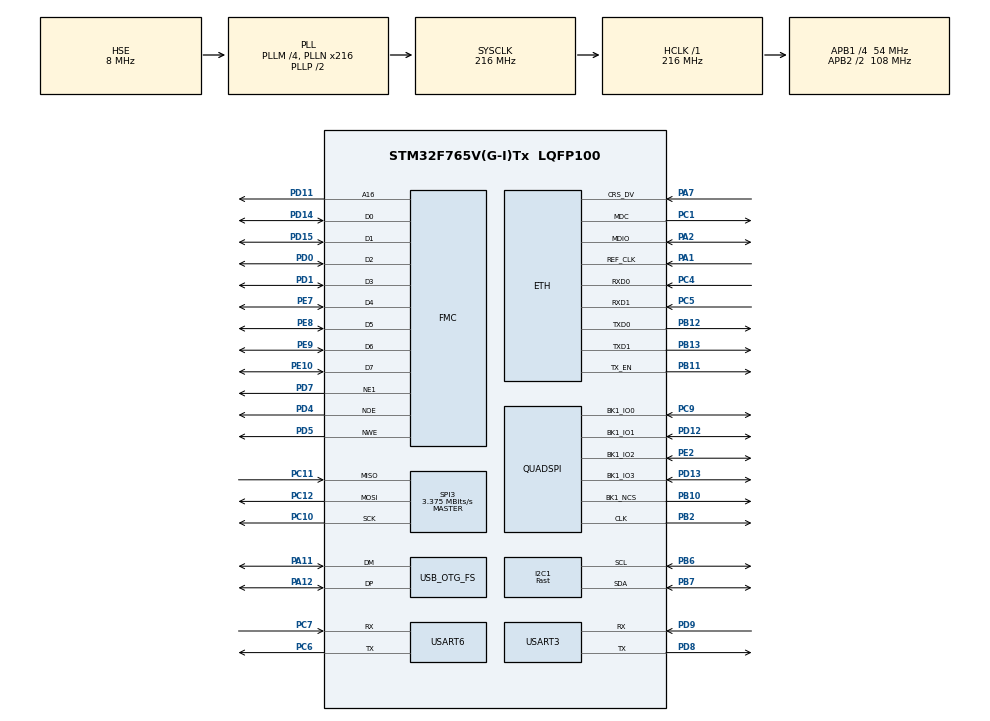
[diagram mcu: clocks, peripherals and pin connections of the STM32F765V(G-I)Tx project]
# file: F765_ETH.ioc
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CORTEX_M7.ART_ACCELERATOR_ENABLE=1
CORTEX_M7.AccessPermission-Cortex_Memory_Protection_Unit_Region1_Settings=MPU_REGION_FULL_ACCESS
CORTEX_M7.AccessPermission-Cortex_Memory_Protection_Unit_Region2_Settings=MPU_REGION_FULL_ACCESS
CORTEX_M7.AccessPermission_S-Cortex_Memory_Protection_Unit_Region1_Settings_S=MPU_REGION_FULL_ACCESS
CORTEX_M7.AccessPermission_S-Cortex_Memory_Protection_Unit_Region2_Settings_S=MPU_REGION_FULL_ACCESS
CORTEX_M7.AccessPermission_Spec=MPU_REGION_FULL_ACCESS
CORTEX_M7.BaseAddress-Cortex_Memory_Protection_Unit_Region1_Settings=0x2007C000
CORTEX_M7.BaseAddress-Cortex_Memory_Protection_Unit_Region2_Settings=0x2007C000
CORTEX_M7.BaseAddress_S-Cortex_Memory_Protection_Unit_Region1_Settings_S=0x2007C000
CORTEX_M7.BaseAddress_S-Cortex_Memory_Protection_Unit_Region2_Settings_S=0x60000000
CORTEX_M7.BaseAddress_Spec=0x2007C000
CORTEX_M7.CPU_DCache=Enabled
CORTEX_M7.CPU_ICache=Enabled
CORTEX_M7.DisableExec-Cortex_Memory_Protection_Unit_Region0_Settings=MPU_INSTRUCTION_ACCESS_DISABLE
CORTEX_M7.DisableExec-Cortex_Memory_Protection_Unit_Region1_Settings=MPU_INSTRUCTION_ACCESS_DISABLE
CORTEX_M7.DisableExec-Cortex_Memory_Protection_Unit_Region2_Settings=MPU_INSTRUCTION_ACCESS_DISABLE
CORTEX_M7.DisableExec_S-Cortex_Memory_Protection_Unit_Region1_Settings_S=MPU_INSTRUCTION_ACCESS_DISABLE
CORTEX_M7.DisableExec_Spec=MPU_INSTRUCTION_ACCESS_DISABLE
CORTEX_M7.Enable-Cortex_Memory_Protection_Unit_Region0_Settings=MPU_REGION_ENABLE
CORTEX_M7.Enable-Cortex_Memory_Protection_Unit_Region1_Settings=MPU_REGION_ENABLE
CORTEX_M7.Enable-Cortex_Memory_Protection_Unit_Region2_Settings=MPU_REGION_ENABLE
CORTEX_M7.Enable-Cortex_Memory_Protection_Unit_Region3_Settings=__NULL
CORTEX_M7.Enable-Cortex_Memory_Protection_Unit_Region4_Settings=__NULL
CORTEX_M7.Enable_S-Cortex_Memory_Protection_Unit_Region1_Settings_S=MPU_REGION_ENABLE
CORTEX_M7.Enable_S-Cortex_Memory_Protection_Unit_Region2_Settings_S=MPU_REGION_ENABLE
CORTEX_M7.Enable_S-Cortex_Memory_Protection_Unit_Region3_Settings_S=__NULL
CORTEX_M7.Enable_Spec=MPU_REGION_ENABLE
CORTEX_M7.FlashInterface=AXI_Enabled
CORTEX_M7.IsBufferable-Cortex_Memory_Protection_Unit_Region2_Settings=MPU_ACCESS_BUFFERABLE
CORTEX_M7.IsBufferable_S-Cortex_Memory_Protection_Unit_Region1_Settings_S=MPU_ACCESS_BUFFERABLE
CORTEX_M7.IsBufferable_S-Cortex_Memory_Protection_Unit_Region2_Settings_S=MPU_ACCESS_BUFFERABLE
CORTEX_M7.IsShareable-Cortex_Memory_Protection_Unit_Region0_Settings=MPU_ACCESS_SHAREABLE
CORTEX_M7.IsShareable-Cortex_Memory_Protection_Unit_Region1_Settings=MPU_ACCESS_SHAREABLE
CORTEX_M7.IsShareable-Cortex_Memory_Protection_Unit_Region2_Settings=MPU_ACCESS_SHAREABLE
CORTEX_M7.IsShareable_S-Cortex_Memory_Protection_Unit_Region1_Settings_S=MPU_ACCESS_SHAREABLE
CORTEX_M7.IsShareable_S-Cortex_Memory_Protection_Unit_Region2_Settings_S=MPU_ACCESS_SHAREABLE
CORTEX_M7.IsShareable_Spec=MPU_ACCESS_NOT_SHAREABLE
CORTEX_M7.MPU_Control=MPU_PRIVILEGED_DEFAULT
CORTEX_M7.PREFETCH_ENABLE=1
CORTEX_M7.Size-Cortex_Memory_Protection_Unit_Region0_Settings=MPU_REGION_SIZE_4GB
CORTEX_M7.Size-Cortex_Memory_Protection_Unit_Region1_Settings=MPU_REGION_SIZE_16KB
CORTEX_M7.Size-Cortex_Memory_Protection_Unit_Region2_Settings=MPU_REGION_SIZE_512B
CORTEX_M7.Size_S-Cortex_Memory_Protection_Unit_Region1_Settings_S=MPU_REGION_SIZE_512B
CORTEX_M7.Size_S-Cortex_Memory_Protection_Unit_Region2_Settings_S=MPU_REGION_SIZE_64KB
CORTEX_M7.Size_Spec=MPU_REGION_SIZE_16KB
CORTEX_M7.SubRegionDisable-Cortex_Memory_Protection_Unit_Region0_Settings=0x87
CORTEX_M7.SubRegionDisable_Spec=0x0
CORTEX_M7.TypeExtField-Cortex_Memory_Protection_Unit_Region1_Settings=MPU_TEX_LEVEL1
CORTEX_M7.TypeExtField_Spec=MPU_TEX_LEVEL1
CORTEX_M7.default_mode_Activation=0
Dma.QUADSPI.0.Direction=DMA_PERIPH_TO_MEMORY
Dma.QUADSPI.0.FIFOMode=DMA_FIFOMODE_DISABLE
Dma.QUADSPI.0.Instance=DMA2_Stream2
Dma.QUADSPI.0.MemDataAlignment=DMA_MDATAALIGN_BYTE
Dma.QUADSPI.0.MemInc=DMA_MINC_ENABLE
Dma.QUADSPI.0.Mode=DMA_NORMAL
Dma.QUADSPI.0.PeriphDataAlignment=DMA_PDATAALIGN_BYTE
Dma.QUADSPI.0.PeriphInc=DMA_PINC_DISABLE
Dma.QUADSPI.0.Priority=DMA_PRIORITY_MEDIUM
Dma.Request0=QUADSPI
ETH.MACAddr=00\:80\:E1\:00\:00\:05
ETH.MediaInterface=HAL_ETH_RMII_MODE
ETH.RxDescAddress=0x2007C000
ETH.TxDescAddress=0x2007C0A0
FATFS._CODE_PAGE=850
FATFS._FS_EXFAT=1
FATFS._USE_LFN=3
FMC.AddressSetupTime1=8
FMC.BusTurnAroundDuration1=8
FMC.DataSetupTime1=30
FMC.WriteFifo1=FMC_WRITE_FIFO_ENABLE
FREERTOS.Tasks01=defaultTask,24,512,StartDefaultTask,Default,NULL,Dynamic,NULL,NULL;myTask,8,512,StartTask,Default,NULL,Dynamic,NULL,NULL
FREERTOS.configCHECK_FOR_STACK_OVERFLOW=2
FREERTOS.configGENERATE_RUN_TIME_STATS=1
FREERTOS.configMINIMAL_STACK_SIZE=512
FREERTOS.configUSE_NEWLIB_REENTRANT=1
FREERTOS.configUSE_STATS_FORMATTING_FUNCTIONS=1
I2C1.I2C_Speed_Mode=I2C_Fast
I2C1.Timing=0x6000030D
LWIP.API_LIB_DEBUG=LWIP_DBG_ON
LWIP.API_MSG_DEBUG=LWIP_DBG_ON
LWIP.AUTOIP_DEBUG=LWIP_DBG_ON
LWIP.BSP.number=1
LWIP.CHECKSUM_CHECK_ICMP=0
LWIP.CHECKSUM_GEN_ICMP=0
LWIP.DHCP6_DEBUG=LWIP_DBG_ON
LWIP.DHCP_DEBUG=LWIP_DBG_ON
LWIP.DNS_DEBUG=LWIP_DBG_ON
LWIP.ETHARP_DEBUG=LWIP_DBG_ON
LWIP.ETHARP_SUPPORT_VLAN=1
LWIP.GATEWAY_ADDRESS=192.168.010.250
LWIP.HTTPD_DEBUG=LWIP_DBG_ON
LWIP.HTTPD_DEBUG_TIMING=LWIP_DBG_ON
LWIP.HTTPD_USE_CUSTOM_FSDATA=1
LWIP.ICMP_DEBUG=LWIP_DBG_ON
LWIP.IGMP_DEBUG=LWIP_DBG_ON
LWIP.INET_DEBUG=LWIP_DBG_ON
LWIP.IP6_DEBUG=LWIP_DBG_ON
LWIP.IP_ADDRESS=192.168.010.015
LWIP.IP_DEBUG=LWIP_DBG_ON
LWIP.IP_REASS_DEBUG=LWIP_DBG_ON
LWIP.LWIP_ALTCP=1
LWIP.LWIP_ALTCP_TLS=1
LWIP.LWIP_BROADCAST_PING=1
LWIP.LWIP_DHCP=0
LWIP.LWIP_DNS=1
LWIP.LWIP_HTTPD=1
LWIP.LWIP_HTTPD_CGI=1
LWIP.LWIP_HTTPD_DYNAMIC_HEADERS=1
LWIP.LWIP_HTTPD_FS_ASYNC_READ=1
LWIP.LWIP_HTTPD_MAX_REQ_LENGTH=2048
LWIP.LWIP_HTTPD_MAX_TAG_NAME_LEN=16
LWIP.LWIP_HTTPD_REQ_BUFSIZE=2048
LWIP.LWIP_HTTPD_SSI=1
LWIP.LWIP_HTTPD_SUPPORT_POST=1
LWIP.LWIP_MULTICAST_PING=1
LWIP.LWIP_TESTMODE=1
LWIP.MDNS_DEBUG=LWIP_DBG_ON
LWIP.MEMP_DEBUG=LWIP_DBG_ON
LWIP.MEMP_NUM_REASSDATA=5
LWIP.MEMP_NUM_TCP_PCB=10
LWIP.MEMP_NUM_TCP_PCB_LISTEN=10
LWIP.MEMP_NUM_TCP_SEG=32
LWIP.MEM_DEBUG=LWIP_DBG_ON
LWIP.MEM_SIZE=10*1024
LWIP.NETIF_DEBUG=LWIP_DBG_ON
LWIP.NETMASK_ADDRESS=255.255.255.000
LWIP.PBUF_DEBUG=LWIP_DBG_ON
LWIP.PPP_DEBUG=LWIP_DBG_ON
LWIP.RAW_DEBUG=LWIP_DBG_ON
LWIP.SLIPIF_THREAD_STACKSIZE=3072
LWIP.SLIP_DEBUG=LWIP_DBG_ON
LWIP.SMTP_DEBUG=LWIP_DBG_ON
LWIP.SNMP_DEBUG=LWIP_DBG_ON
LWIP.SNMP_MIB_DEBUG=LWIP_DBG_ON
LWIP.SNTP_DEBUG=LWIP_DBG_ON
LWIP.SOCKETS_DEBUG=LWIP_DBG_ON
LWIP.SYS_DEBUG=LWIP_DBG_ON
LWIP.TCPIP_DEBUG=LWIP_DBG_ON
LWIP.TCPIP_THREAD_PRIO=40
LWIP.TCPIP_THREAD_STACKSIZE=3072
LWIP.TCP_CALCULATE_EFF_SEND_MSS=0
LWIP.TCP_CWND_DEBUG=LWIP_DBG_ON
LWIP.TCP_DEBUG=LWIP_DBG_ON
LWIP.TCP_DEFAULT_LISTEN_BACKLOG=4
LWIP.TCP_FR_DEBUG=LWIP_DBG_ON
LWIP.TCP_INPUT_DEBUG=LWIP_DBG_ON
LWIP.TCP_MSS=1460
LWIP.TCP_OUTPUT_DEBUG=LWIP_DBG_ON
LWIP.TCP_QLEN_DEBUG=LWIP_DBG_ON
LWIP.TCP_RST_DEBUG=LWIP_DBG_ON
LWIP.TCP_RTO_DEBUG=LWIP_DBG_ON
LWIP.TCP_SNDQUEUELOWAT=8
LWIP.TCP_SND_BUF=5840
LWIP.TCP_SND_QUEUELEN=16
LWIP.TCP_WND=5840
LWIP.TCP_WND_DEBUG=LWIP_DBG_ON
LWIP.TFTP_DEBUG=LWIP_DBG_ON
LWIP.TIMERS_DEBUG=LWIP_DBG_ON
LWIP.UDP_DEBUG=LWIP_DBG_ON
LWIP.Version=v2.1.2_Cube
LWIP0.BSP.STBoard=false
LWIP0.BSP.api=BSP_COMPONENT_DRIVER
LWIP0.BSP.component=LAN8742
LWIP0.BSP.instance=LAN8742
LWIP0.BSP.name=Driver_PHY
LWIP0.BSP.semaphore=S_LAN8742
LWIP0.BSP.solution=LAN8742
Mcu.Family=STM32F7
Mcu.Name=STM32F765V(G-I)Tx
Mcu.Package=LQFP100
Mcu.UserConstants=LWIP_RAM_HEAP_POINTER,0x2007C200
NVIC.DMA2_Stream2_IRQn=true\:5\:0\:false\:false\:true\:true\:false\:true\:true
NVIC.ETH_IRQn=true\:5\:0\:false\:false\:true\:true\:false\:true\:true
NVIC.OTG_FS_IRQn=true\:5\:0\:false\:false\:true\:true\:false\:true\:true
NVIC.PriorityGroup=NVIC_PRIORITYGROUP_4
NVIC.QUADSPI_IRQn=true\:5\:0\:false\:false\:true\:true\:true\:true\:true
NVIC.TIM6_DAC_IRQn=true\:15\:0\:false\:false\:true\:false\:false\:true\:true
NVIC.TIM8_BRK_TIM12_IRQn=true\:5\:0\:false\:false\:true\:true\:true\:true\:true
NVIC.TimeBase=TIM6_DAC_IRQn
NVIC.TimeBaseIP=TIM6
NVIC.USART3_IRQn=true\:5\:0\:false\:false\:true\:true\:true\:true\:true
NVIC.USART6_IRQn=true\:5\:0\:false\:false\:true\:true\:true\:true\:true
PA1.Mode=RMII
PA1.Signal=ETH_REF_CLK
PA11.Mode=Device_Only
PA11.Signal=USB_OTG_FS_DM
PA12.Mode=Device_Only
PA12.Signal=USB_OTG_FS_DP
PA13.Mode=Serial_Wire
PA13.Signal=SYS_JTMS-SWDIO
PA14.Mode=Serial_Wire
PA14.Signal=SYS_JTCK-SWCLK
PA2.Mode=RMII
PA2.Signal=ETH_MDIO
PA7.Mode=RMII
PA7.Signal=ETH_CRS_DV
PB10.Mode=Single Bank 1
PB10.Signal=QUADSPI_BK1_NCS
PB11.Mode=RMII
PB11.Signal=ETH_TX_EN
PB12.Mode=RMII
PB12.Signal=ETH_TXD0
PB13.Mode=RMII
PB13.Signal=ETH_TXD1
PB2.Mode=Single Bank 1
PB2.Signal=QUADSPI_CLK
PB6.Mode=I2C
PB6.Signal=I2C1_SCL
PB7.Mode=I2C
PB7.Signal=I2C1_SDA
PC1.Mode=RMII
PC1.Signal=ETH_MDC
PC10.Mode=Full_Duplex_Master
PC10.Signal=SPI3_SCK
PC11.Mode=Full_Duplex_Master
PC11.Signal=SPI3_MISO
PC12.Mode=Full_Duplex_Master
PC12.Signal=SPI3_MOSI
PC4.Mode=RMII
PC4.Signal=ETH_RXD0
PC5.Mode=RMII
PC5.Signal=ETH_RXD1
PC6.Mode=Asynchronous
PC6.Signal=USART6_TX
PC7.Mode=Asynchronous
PC7.Signal=USART6_RX
PC9.Mode=Single Bank 1
PC9.Signal=QUADSPI_BK1_IO0
PD0.Signal=FMC_D2_DA2
PD1.Signal=FMC_D3_DA3
PD11.Signal=FMC_A16_CLE
PD12.Mode=Single Bank 1
PD12.Signal=QUADSPI_BK1_IO1
PD13.Mode=Single Bank 1
PD13.Signal=QUADSPI_BK1_IO3
PD14.Signal=FMC_D0_DA0
PD15.Signal=FMC_D1_DA1
PD4.Signal=FMC_NOE
PD5.Signal=FMC_NWE
PD7.Mode=NorPsramChipSelect1_1
PD7.Signal=FMC_NE1
PD8.Mode=Asynchronous
PD8.Signal=USART3_TX
PD9.Mode=Asynchronous
PD9.Signal=USART3_RX
PE10.Signal=FMC_D7_DA7
PE2.Mode=Single Bank 1
PE2.Signal=QUADSPI_BK1_IO2
PE7.Signal=FMC_D4_DA4
PE8.Signal=FMC_D5_DA5
PE9.Signal=FMC_D6_DA6
PH0/OSC_IN.Mode=HSE-External-Oscillator
PH0/OSC_IN.Signal=RCC_OSC_IN
PH1/OSC_OUT.Mode=HSE-External-Oscillator
PH1/OSC_OUT.Signal=RCC_OSC_OUT
ProjectManager.HeapSize=0x200
ProjectManager.StackSize=0x400
ProjectManager.TargetToolchain=STM32CubeIDE
QUADSPI.ChipSelectHighTime=QSPI_CS_HIGH_TIME_8_CYCLE
QUADSPI.ClockPrescaler=1
QUADSPI.FifoThreshold=4
QUADSPI.FlashSize=25
QUADSPI.SampleShifting=QSPI_SAMPLE_SHIFTING_HALFCYCLE
RCC.AHBFreq_Value=216000000
RCC.APB1CLKDivider=RCC_HCLK_DIV4
RCC.APB1Freq_Value=54000000
RCC.APB1TimFreq_Value=108000000
RCC.APB2CLKDivider=RCC_HCLK_DIV2
RCC.APB2Freq_Value=108000000
RCC.APB2TimFreq_Value=216000000
RCC.CortexFreq_Value=216000000
RCC.HCLKFreq_Value=216000000
RCC.HSE_VALUE=8000000
RCC.HSI_VALUE=16000000
RCC.LSE_VALUE=32768
RCC.PLL48CLockSelection=RCC_CLK48SOURCE_PLLSAIP
RCC.PLLM=4
RCC.PLLN=216
RCC.PLLSAIP=RCC_PLLSAIP_DIV8
RCC.RCC_RTC_Clock_Source_FROM_HSE=RCC_RTCCLKSOURCE_HSE_DIV16
RCC.RTCClockSelection=RCC_RTCCLKSOURCE_HSE_DIV16
RCC.SYSCLKFreq_VALUE=216000000
RCC.SYSCLKSource=RCC_SYSCLKSOURCE_PLLCLK
RCC.USBFreq_Value=48000000
RCC.VCOOutputFreq_Value=432000000
RTC.AsynchPrediv=124
RTC.Format=RTC_FORMAT_BIN
RTC.SynchPrediv=7999
SH.FMC_A16_CLE.0=FMC_A16,A16_1
SH.FMC_D0_DA0.0=FMC_D0,8b-d1
SH.FMC_D1_DA1.0=FMC_D1,8b-d1
SH.FMC_D2_DA2.0=FMC_D2,8b-d1
SH.FMC_D3_DA3.0=FMC_D3,8b-d1
SH.FMC_D4_DA4.0=FMC_D4,8b-d1
SH.FMC_D5_DA5.0=FMC_D5,8b-d1
SH.FMC_D6_DA6.0=FMC_D6,8b-d1
SH.FMC_D7_DA7.0=FMC_D7,8b-d1
SH.FMC_NOE.0=FMC_NOE,Lcd1
SH.FMC_NWE.0=FMC_NWE,Lcd1
SPI3.BaudRatePrescaler=SPI_BAUDRATEPRESCALER_16
SPI3.CalculateBaudRate=3.375 MBits/s
SPI3.DataSize=SPI_DATASIZE_8BIT
SPI3.Direction=SPI_DIRECTION_2LINES
SPI3.Mode=SPI_MODE_MASTER
SPI3.VirtualType=VM_MASTER
USART3.VirtualMode-Asynchronous=VM_ASYNC
USART6.VirtualMode=VM_ASYNC
USB_DEVICE.CLASS_NAME_FS=CDC
USB_DEVICE.VirtualMode-CDC_FS=Cdc
USB_DEVICE.VirtualModeFS=Cdc_FS
USB_OTG_FS.VirtualMode=Device_Only
VP_CRC_VS_CRC.Mode=CRC_Activate
VP_DMA2D_VS_DMA2D.Mode=DMA2D_Activate
VP_FATFS_VS_Generic.Mode=User_defined
VP_FREERTOS_VS_CMSIS_V2.Mode=CMSIS_V2
VP_LWIP_VS_Enabled.Mode=Enabled
VP_RNG_VS_RNG.Mode=RNG_Activate
VP_RTC_VS_RTC_Activate.Mode=RTC_Enabled
VP_RTC_VS_RTC_Calendar.Mode=RTC_Calendar
VP_SYS_VS_tim6.Mode=TIM6
VP_TIM12_VS_ClockSourceINT.Mode=Internal
VP_USB_DEVICE_VS_USB_DEVICE_CDC_FS.Mode=CDC_FS
board=custom

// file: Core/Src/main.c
/* USER CODE BEGIN Header */
/**
  ******************************************************************************
  * @file           : main.c
  * @brief          : Main program body
  ******************************************************************************
  * @attention
  *
  * Copyright (c) 2024 STMicroelectronics.
  * All rights reserved.
  *
  * This software is licensed under terms that can be found in the LICENSE file
  * in the root directory of this software component.
  * If no LICENSE file comes with this software, it is provided AS-IS.
  *
  ******************************************************************************
  */
/* USER CODE END Header */
#include "main.h"
#include "cmsis_os.h"
#include "crc.h"
#include "dma.h"
#include "dma2d.h"
#include "fatfs.h"
#include "i2c.h"
#include "lwip.h"
#include "quadspi.h"
#include "rng.h"
#include "rtc.h"
#include "spi.h"
#include "tim.h"
#include "usart.h"
#include "usb_device.h"
#include "gpio.h"
#include "fmc.h"

/* USER CODE BEGIN Includes */
#include "../Sinteck/display/Drv_SSD1963.h"
/* USER CODE END Includes */

/* USER CODE BEGIN PD */
#ifdef __GNUC__
  /* With GCC, small printf (option LD Linker->Libraries->Small printf
     set to 'Yes') calls __io_putchar() */
  #define PUTCHAR_PROTOTYPE int __io_putchar(int ch)
#else
  #define PUTCHAR_PROTOTYPE int fputc(int ch, FILE *f)
#endif /* __GNUC__ */
PUTCHAR_PROTOTYPE
{
  /* Place your implementation of fputc here */
  /* e.g. write a character to the EVAL_COM1 and Loop until the end of transmission */
  HAL_UART_Transmit(&huart6, (uint8_t *)&ch, 1, 0xFFFF);

  return ch;
}
/* USER CODE END PD */

/* USER CODE BEGIN PV */
extern volatile unsigned long ulHighFrequencyTimerTicks;
/* USER CODE END PV */

void SystemClock_Config(void);
void PeriphCommonClock_Config(void);
static void MPU_Config(void);
void MX_FREERTOS_Init(void);

int main(void)
{

  /* MPU Configuration--------------------------------------------------------*/
  MPU_Config();

  /* Enable the CPU Cache */

  /* Enable I-Cache---------------------------------------------------------*/
  SCB_EnableICache();

  /* Enable D-Cache---------------------------------------------------------*/
  SCB_EnableDCache();

  /* MCU Configuration--------------------------------------------------------*/

  /* Reset of all peripherals, Initializes the Flash interface and the Systick. */
  HAL_Init();

  /* Configure the system clock */
  SystemClock_Config();

  /* Configure the peripherals common clocks */
  PeriphCommonClock_Config();

  /* Initialize all configured peripherals */
  MX_GPIO_Init();
  MX_DMA_Init();
  MX_TIM12_Init();
  MX_FMC_Init();
  MX_QUADSPI_Init();
  MX_USART3_UART_Init();
  MX_USART6_UART_Init();
  MX_CRC_Init();
  MX_I2C1_Init();
  MX_RNG_Init();
  MX_RTC_Init();
  MX_SPI3_Init();
  MX_DMA2D_Init();
  /* USER CODE BEGIN 2 */
  HAL_TIM_Base_Start_IT(&htim12);

  // Init SSD1963
  drv_ssd1963_init();
  drv_ssd1963_SetBacklight(200);
  // Tela de Start-UP
  drv_ssd1963_bmp();

  printf("Test LWIP STM32F765\n\r");
  LWIP_PLATFORM_DIAG(("Rinaldo LWIP DEBUG\n\r"));
  /* USER CODE END 2 */

  /* Init scheduler */
  osKernelInitialize();

  /* Call init function for freertos objects (in cmsis_os2.c) */
  MX_FREERTOS_Init();

  /* Start scheduler */
  osKernelStart();

  /* We should never get here as control is now taken by the scheduler */

  /* Infinite loop */
  while (1)
  {

  }
}

void SystemClock_Config(void)
{
  RCC_OscInitTypeDef RCC_OscInitStruct = {0};
  RCC_ClkInitTypeDef RCC_ClkInitStruct = {0};

  /** Configure the main internal regulator output voltage
  */
  __HAL_RCC_PWR_CLK_ENABLE();
  __HAL_PWR_VOLTAGESCALING_CONFIG(PWR_REGULATOR_VOLTAGE_SCALE1);

  /** Initializes the RCC Oscillators according to the specified parameters
  * in the RCC_OscInitTypeDef structure.
  */
  RCC_OscInitStruct.OscillatorType = RCC_OSCILLATORTYPE_HSE;
  RCC_OscInitStruct.HSEState = RCC_HSE_ON;
  RCC_OscInitStruct.PLL.PLLState = RCC_PLL_ON;
  RCC_OscInitStruct.PLL.PLLSource = RCC_PLLSOURCE_HSE;
  RCC_OscInitStruct.PLL.PLLM = 4;
  RCC_OscInitStruct.PLL.PLLN = 216;
  RCC_OscInitStruct.PLL.PLLP = RCC_PLLP_DIV2;
  RCC_OscInitStruct.PLL.PLLQ = 2;
  RCC_OscInitStruct.PLL.PLLR = 2;
  if (HAL_RCC_OscConfig(&RCC_OscInitStruct) != HAL_OK)
  {
    Error_Handler();
  }

  /** Activate the Over-Drive mode
  */
  if (HAL_PWREx_EnableOverDrive() != HAL_OK)
  {
    Error_Handler();
  }

  /** Initializes the CPU, AHB and APB buses clocks
  */
  RCC_ClkInitStruct.ClockType = RCC_CLOCKTYPE_HCLK|RCC_CLOCKTYPE_SYSCLK
                              |RCC_CLOCKTYPE_PCLK1|RCC_CLOCKTYPE_PCLK2;
  RCC_ClkInitStruct.SYSCLKSource = RCC_SYSCLKSOURCE_PLLCLK;
  RCC_ClkInitStruct.AHBCLKDivider = RCC_SYSCLK_DIV1;
  RCC_ClkInitStruct.APB1CLKDivider = RCC_HCLK_DIV4;
  RCC_ClkInitStruct.APB2CLKDivider = RCC_HCLK_DIV2;

  if (HAL_RCC_ClockConfig(&RCC_ClkInitStruct, FLASH_LATENCY_7) != HAL_OK)
  {
    Error_Handler();
  }
}

void PeriphCommonClock_Config(void)
{
  RCC_PeriphCLKInitTypeDef PeriphClkInitStruct = {0};

  /** Initializes the peripherals clock
  */
  PeriphClkInitStruct.PeriphClockSelection = RCC_PERIPHCLK_CLK48;
  PeriphClkInitStruct.PLLSAI.PLLSAIN = 192;
  PeriphClkInitStruct.PLLSAI.PLLSAIR = 2;
  PeriphClkInitStruct.PLLSAI.PLLSAIQ = 2;
  PeriphClkInitStruct.PLLSAI.PLLSAIP = RCC_PLLSAIP_DIV8;
  PeriphClkInitStruct.PLLSAIDivQ = 1;
  PeriphClkInitStruct.PLLSAIDivR = RCC_PLLSAIDIVR_2;
  PeriphClkInitStruct.Clk48ClockSelection = RCC_CLK48SOURCE_PLLSAIP;
  if (HAL_RCCEx_PeriphCLKConfig(&PeriphClkInitStruct) != HAL_OK)
  {
    Error_Handler();
  }
}

 /* MPU Configuration */

void MPU_Config(void)
{
  MPU_Region_InitTypeDef MPU_InitStruct = {0};

  /* Disables the MPU */
  HAL_MPU_Disable();

  /** Initializes and configures the Region and the memory to be protected
  */
  MPU_InitStruct.Enable = MPU_REGION_DISABLE;
  MPU_InitStruct.Number = MPU_REGION_NUMBER0;
  MPU_InitStruct.BaseAddress = 0x0;
  MPU_InitStruct.Size = MPU_REGION_SIZE_4GB;
  MPU_InitStruct.SubRegionDisable = 0x87;
  MPU_InitStruct.TypeExtField = MPU_TEX_LEVEL0;
  MPU_InitStruct.AccessPermission = MPU_REGION_NO_ACCESS;
  MPU_InitStruct.DisableExec = MPU_INSTRUCTION_ACCESS_DISABLE;
  MPU_InitStruct.IsShareable = MPU_ACCESS_SHAREABLE;
  MPU_InitStruct.IsCacheable = MPU_ACCESS_NOT_CACHEABLE;
  MPU_InitStruct.IsBufferable = MPU_ACCESS_NOT_BUFFERABLE;

  HAL_MPU_ConfigRegion(&MPU_InitStruct);

  /** Initializes and configures the Region and the memory to be protected
    */
  MPU_InitStruct.Enable = MPU_REGION_ENABLE;
  MPU_InitStruct.Number = MPU_REGION_NUMBER1;
  MPU_InitStruct.BaseAddress = 0x2007C000;
  MPU_InitStruct.Size = MPU_REGION_SIZE_16KB;
  MPU_InitStruct.SubRegionDisable = 0x0;
  MPU_InitStruct.TypeExtField = MPU_TEX_LEVEL1;
  MPU_InitStruct.AccessPermission = MPU_REGION_FULL_ACCESS;
  MPU_InitStruct.DisableExec = MPU_INSTRUCTION_ACCESS_DISABLE;
  MPU_InitStruct.IsShareable = MPU_ACCESS_SHAREABLE;
  MPU_InitStruct.IsCacheable = MPU_ACCESS_NOT_CACHEABLE;
  MPU_InitStruct.IsBufferable = MPU_ACCESS_NOT_BUFFERABLE;

  HAL_MPU_ConfigRegion(&MPU_InitStruct);

  /** Initializes and configures the Region and the memory to be protected
    */
  MPU_InitStruct.Enable = MPU_REGION_ENABLE;
  MPU_InitStruct.Number = MPU_REGION_NUMBER2;
  MPU_InitStruct.BaseAddress = 0x2007C000;
  MPU_InitStruct.Size = MPU_REGION_SIZE_512B;
  MPU_InitStruct.SubRegionDisable = 0x0;
  MPU_InitStruct.TypeExtField = MPU_TEX_LEVEL0;
  MPU_InitStruct.AccessPermission = MPU_REGION_FULL_ACCESS;
  MPU_InitStruct.DisableExec = MPU_INSTRUCTION_ACCESS_DISABLE;
  MPU_InitStruct.IsShareable = MPU_ACCESS_SHAREABLE;
  MPU_InitStruct.IsCacheable = MPU_ACCESS_NOT_CACHEABLE;
  MPU_InitStruct.IsBufferable = MPU_ACCESS_BUFFERABLE;

  HAL_MPU_ConfigRegion(&MPU_InitStruct);

  /** Initializes and configures the Region and the memory to be protected
    */
  MPU_InitStruct.Enable = MPU_REGION_ENABLE;
  MPU_InitStruct.Number = MPU_REGION_NUMBER3;
  MPU_InitStruct.BaseAddress = 0x60000000;
  MPU_InitStruct.Size = MPU_REGION_SIZE_64KB;
  MPU_InitStruct.SubRegionDisable = 0x0;
  MPU_InitStruct.TypeExtField = MPU_TEX_LEVEL0;
  MPU_InitStruct.AccessPermission = MPU_REGION_FULL_ACCESS;
  MPU_InitStruct.DisableExec = MPU_INSTRUCTION_ACCESS_DISABLE;
  MPU_InitStruct.IsShareable = MPU_ACCESS_NOT_SHAREABLE;
  MPU_InitStruct.IsCacheable = MPU_ACCESS_NOT_CACHEABLE;
  MPU_InitStruct.IsBufferable = MPU_ACCESS_NOT_BUFFERABLE;

  HAL_MPU_ConfigRegion(&MPU_InitStruct);

  /** Initializes and configures the Region and the memory to be protected
    */
  MPU_InitStruct.Enable = MPU_REGION_ENABLE;
  MPU_InitStruct.Number = MPU_REGION_NUMBER4;
  MPU_InitStruct.BaseAddress = 0x60010000;
  MPU_InitStruct.Size = MPU_REGION_SIZE_64KB;
  MPU_InitStruct.SubRegionDisable = 0x0;
  MPU_InitStruct.TypeExtField = MPU_TEX_LEVEL0;
  MPU_InitStruct.AccessPermission = MPU_REGION_FULL_ACCESS;
  MPU_InitStruct.DisableExec = MPU_INSTRUCTION_ACCESS_DISABLE;
  MPU_InitStruct.IsShareable = MPU_ACCESS_NOT_SHAREABLE;
  MPU_InitStruct.IsCacheable = MPU_ACCESS_NOT_CACHEABLE;
  MPU_InitStruct.IsBufferable = MPU_ACCESS_NOT_BUFFERABLE;

  HAL_MPU_ConfigRegion(&MPU_InitStruct);

  /** Initializes and configures the Region and the memory to be protected
    */
  MPU_InitStruct.Enable = MPU_REGION_ENABLE;
  MPU_InitStruct.Number = MPU_REGION_NUMBER5;
  MPU_InitStruct.BaseAddress = 0xA0000000;
  MPU_InitStruct.Size = MPU_REGION_SIZE_64KB;
  MPU_InitStruct.SubRegionDisable = 0x0;
  MPU_InitStruct.TypeExtField = MPU_TEX_LEVEL0;
  MPU_InitStruct.AccessPermission = MPU_REGION_FULL_ACCESS;
  MPU_InitStruct.DisableExec = MPU_INSTRUCTION_ACCESS_DISABLE;
  MPU_InitStruct.IsShareable = MPU_ACCESS_NOT_SHAREABLE;
  MPU_InitStruct.IsCacheable = MPU_ACCESS_NOT_CACHEABLE;
  MPU_InitStruct.IsBufferable = MPU_ACCESS_NOT_BUFFERABLE;

  HAL_MPU_ConfigRegion(&MPU_InitStruct);

  /* Enables the MPU */
  HAL_MPU_Enable(MPU_PRIVILEGED_DEFAULT);

}

void HAL_TIM_PeriodElapsedCallback(TIM_HandleTypeDef *htim)
{
  if (htim->Instance == TIM6) {
    HAL_IncTick();
  }
  /* USER CODE BEGIN Callback 1 */
  if (htim->Instance == TIM12) {
	  ulHighFrequencyTimerTicks++;
  }
  /* USER CODE END Callback 1 */
}

void Error_Handler(void)
{
  __disable_irq();
  while (1)
  {
  }
}

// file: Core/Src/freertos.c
/* USER CODE BEGIN Header */
/**
  ******************************************************************************
  * File Name          : freertos.c
  * Description        : Code for freertos applications
  ******************************************************************************
  * @attention
  *
  * Copyright (c) 2024 STMicroelectronics.
  * All rights reserved.
  *
  * This software is licensed under terms that can be found in the LICENSE file
  * in the root directory of this software component.
  * If no LICENSE file comes with this software, it is provided AS-IS.
  *
  ******************************************************************************
  */
/* USER CODE END Header */

#include "FreeRTOS.h"
#include "task.h"
#include "main.h"
#include "cmsis_os.h"

/* USER CODE BEGIN Includes */
#include "lwip.h"
#include "lwip/apps/lwiperf.h"
/* USER CODE END Includes */

/* USER CODE BEGIN Variables */
volatile unsigned long ulHighFrequencyTimerTicks = 0;
/* USER CODE END Variables */
/* Definitions for defaultTask */
osThreadId_t defaultTaskHandle;
const osThreadAttr_t defaultTask_attributes = {
  .name = "defaultTask",
  .stack_size = 512 * 4,
  .priority = (osPriority_t) osPriorityNormal,
};
/* Definitions for myTask */
osThreadId_t myTaskHandle;
const osThreadAttr_t myTask_attributes = {
  .name = "myTask",
  .stack_size = 512 * 4,
  .priority = (osPriority_t) osPriorityLow,
};

void StartDefaultTask(void *argument);
void StartTask(void *argument);

extern void MX_LWIP_Init(void);
extern void MX_USB_DEVICE_Init(void);
void MX_FREERTOS_Init(void); /* (MISRA C 2004 rule 8.1) */

/* Hook prototypes */
void configureTimerForRunTimeStats(void);
unsigned long getRunTimeCounterValue(void);
void vApplicationStackOverflowHook(xTaskHandle xTask, signed char *pcTaskName);

/* USER CODE BEGIN 1 */
/* Functions needed when configGENERATE_RUN_TIME_STATS is on */
__weak void configureTimerForRunTimeStats(void)
{
	ulHighFrequencyTimerTicks = 0;
}

__weak unsigned long getRunTimeCounterValue(void)
{
   return ulHighFrequencyTimerTicks;
}
/* USER CODE END 1 */

/* USER CODE BEGIN 4 */
void vApplicationStackOverflowHook(xTaskHandle xTask, signed char *pcTaskName)
{
   /* Run time stack overflow checking is performed if
   configCHECK_FOR_STACK_OVERFLOW is defined to 1 or 2. This hook function is
   called if a stack overflow is detected. */
}
/* USER CODE END 4 */

void MX_FREERTOS_Init(void) {

  /* Create the thread(s) */
  /* creation of defaultTask */
  defaultTaskHandle = osThreadNew(StartDefaultTask, NULL, &defaultTask_attributes);

  /* creation of myTask */
  myTaskHandle = osThreadNew(StartTask, NULL, &myTask_attributes);

}

void StartDefaultTask(void *argument)
{
  /* init code for LWIP */
  MX_LWIP_Init();

  /* init code for USB_DEVICE */
  MX_USB_DEVICE_Init();
  /* USER CODE BEGIN StartDefaultTask */
  LOCK_TCPIP_CORE();
  lwiperf_start_tcp_server_default(NULL, NULL);

  ip4_addr_t remote_addr;
  IP4_ADDR(&remote_addr, 192, 168, 10, 17);
  lwiperf_start_tcp_client_default(&remote_addr, NULL, NULL);
  UNLOCK_TCPIP_CORE();
  /* Infinite loop */
  for(;;)
  {
    osDelay(1);
  }
  /* USER CODE END StartDefaultTask */
}

void StartTask(void *argument)
{
  for(;;)
  {
    osDelay(1);
  }
}
